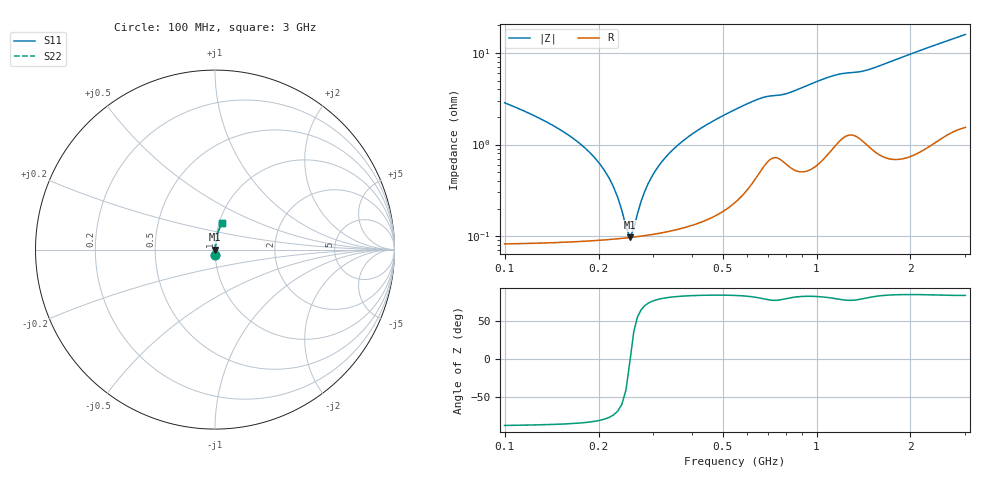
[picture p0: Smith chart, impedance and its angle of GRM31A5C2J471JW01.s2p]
!Murata Part Number: GRM31A5C2J471JW01
!These Parameters are Measured in Series Mode Connection
!Data Generated on Mar 30, 2021
!  o--ll--o
!Port1  Port2
!  o------o
!Operation Temp=25[degC], DC Bias Voltage=0[V]
!Freq. Start=100[MHz] Stop=3[GHz] 401[Steps]
# Hz S RI R 50
!Freq.(Hz) S11(Real) S11(Imag) S21(Real) S21(Imag) S12(Real) S12(Imag) S22(Real) S22(Imag)
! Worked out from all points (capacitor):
!   401 points, 100 MHz to 3 GHz, reference 50 ohm
!   read as one part in series: C = 469 pF near 114.5 MHz
!   lowest |Z| = 96.8 mohm at 252.2 MHz (marker M1)
!   series resonance near 252.7 MHz, so ESL is about 850 pH
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1e8  0.00164 -0.0285  0.9984 0.0285  0.9984 0.0285  0.00164 -0.0285
1.5075e8  0.00106 -0.0145  0.9989 0.0145  0.9989 0.0145  0.00106 -0.0145
1.9425e8  0.000945 -0.00715  0.9991 0.00715  0.9991 0.00715  0.000945 -0.00715
2.16e8  0.000936 -0.00423  0.9991 0.00423  0.9991 0.00423  0.000936 -0.00423
2.45e8  0.000957 -0.00083  0.999 0.00083  0.999 0.00083  0.000957 -0.00083
2.5225e8  0.000967 -4.35e-05  0.999 4.35e-05  0.999 4.35e-05  0.000967 -4.35e-05
2.595e8  0.000978 0.000721  0.999 -0.000721  0.999 -0.000721  0.000978 0.000721
2.6675e8  0.000991 0.00147  0.999 -0.00147  0.999 -0.00147  0.000991 0.00147
2.8125e8  0.00102 0.0029  0.999 -0.0029  0.999 -0.0029  0.00102 0.0029
3.03e8  0.00108 0.00494  0.9989 -0.00494  0.9989 -0.00494  0.00108 0.00494
3.2475e8  0.00115 0.00688  0.9989 -0.00688  0.9989 -0.00688  0.00115 0.00688
3.5375e8  0.00126 0.00932  0.9987 -0.00932  0.9987 -0.00932  0.00126 0.00932
3.9725e8  0.00147 0.0128  0.9985 -0.0128  0.9985 -0.0128  0.00147 0.0128
4.48e8  0.0018 0.0166  0.9982 -0.0166  0.9982 -0.0166  0.0018 0.0166
5.8575e8  0.00362 0.0265  0.9964 -0.0265  0.9964 -0.0265  0.00362 0.0265
6.7275e8  0.00655 0.0318  0.9935 -0.0318  0.9935 -0.0318  0.00655 0.0318
7.96e8  0.00736 0.0348  0.9926 -0.0348  0.9926 -0.0348  0.00736 0.0348
1.0715e9  0.01 0.0518  0.99 -0.0518  0.99 -0.0518  0.01 0.0518
1.55e9  0.0128 0.0681  0.9872 -0.0681  0.9872 -0.0681  0.0128 0.0681
2.03575e9  0.0171 0.0968  0.9829 -0.0968  0.9829 -0.0968  0.0171 0.0968
2.5215e9  0.0274 0.124  0.9726 -0.124  0.9726 -0.124  0.0274 0.124
3e9  0.0386 0.15  0.9614 -0.15  0.9614 -0.15  0.0386 0.15
